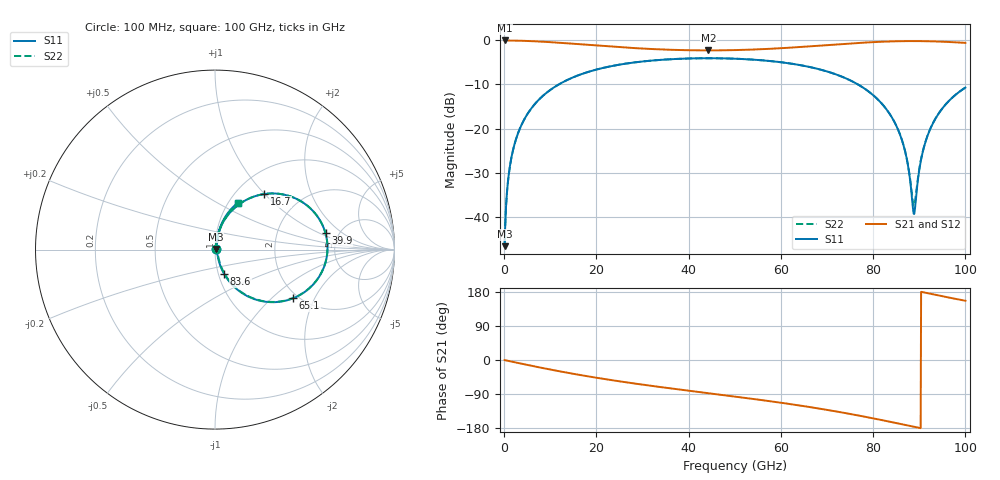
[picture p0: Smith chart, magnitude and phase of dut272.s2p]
! Touchstone file exported from HFSS 2026.1.0
!  File:  C:/ffzhzh/LocalFiles/Ansys_Project_Files/temp_train_RDL_272_1783501863_9504.aedt
!  Generated:  05:12:51 PM Jul  8, 2026
!  Design:  RDL
!  Project:  temp_train_RDL_272_1783501863_9504
! Variables:
!  h_bsmrdl = 2um
!  h_ox = 20um
!  h_rdl = 5um
!  h_sub = 80um
!  h_tmrdl = 3.23um
!  h_tsv = 80um
!  h_via = 3um
!  l_bsmrdl = 300um
!  l_sub = 1050.25um
!  l_tmrdl = 650.25um
!  m_sub = 200um
!  pitch = 58.69um
!  r_tsv = 6um
!  s_tmrdl = 10um
!  w_bsmrdl = 18um
!  w_sub = 500um
!  w_tmrdl = 22.25um
!  x_tsv_center1 = 661.375um
!  x_tsv_center2 = 979.375um
!  x_tsv_center3 = 1651.875um
!  x_tsv_center4 = 1969.875um
!  x_tsv_center5 = 2642.375um
!  x_tsv_center6 = 2960.375um
# GHz S MA R 50.000000
! Terminal data exported
! Port[1] = TM_RDL1_1_T1
! Port[2] = TM_RDL1_1_T2
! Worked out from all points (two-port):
!   1000 points, 100 MHz to 100 GHz, reference 50 ohm
!   highest |S21| = -0.03 dB at 100 MHz (marker M1); lowest = -2.3 dB at 44.3 GHz (marker M2)
!   |S21| within 3 dB of the highest: start of sweep to end of sweep
!   lowest |S11| = -46.6 dB at 100 MHz (marker M3), VSWR 1.01, Z = 50.3 + j0.319 ohm
!   |S11| at or under -10 dB: start of sweep to 11.84 GHz; 76.71 GHz to end of sweep
!   |S22| runs from -46.6 to -4.1 dB; largest |S21 - S12| = 1.9e-14
!   S11 on the Smith chart (normalised r, x): 100 MHz: 1.01, +0.01; 16.7 GHz: 1.33, +0.99; 39.9 GHz: 3.93, +1.17; 65.1 GHz: 1.88, -1.38; 83.6 GHz: 1.07, -0.30; 100 GHz: 1.10, +0.63
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0.1  0.004659 42.9  0.9966 -0.3  0.9966 -0.3  0.004659 42.9
! Gamma 0 0 0 0
! Port Impedance 50 0 50 0
0.8  0.02441 78.2  0.9956 -2.1  0.9956 -2.1  0.02441 78.2
1.4  0.04187 80.4  0.9948 -3.7  0.9948 -3.7  0.04187 80.4
4  0.1169 77.0  0.9878 -10.4  0.9878 -10.4  0.1169 77.0
8.9  0.2474 65.6  0.961 -22.5  0.961 -22.5  0.2474 65.7
16.7  0.413 48.5  0.9005 -40.1  0.9005 -40.1  0.413 48.5
16.8  0.4148 48.3  0.8997 -40.3  0.8997 -40.3  0.4148 48.3
33.4  0.598 18.5  0.7911 -70.6  0.7911 -70.6  0.598 18.6
39.9  0.6224 8.4  0.7726 -80.9  0.7726 -80.9  0.6224 8.5
44.3  0.627 1.8  0.7689 -87.6  0.7689 -87.6  0.6271 1.8
50.1  0.6191 -7.1  0.7752 -96.6  0.7752 -96.6  0.6191 -6.9
65.1  0.513 -31.9  0.8464 -122.0  0.8464 -122.0  0.513 -31.7
66.7  0.4927 -34.9  0.8578 -125.0  0.8578 -125.0  0.4927 -34.7
76.8  0.3142 -55.3  0.9339 -146.4  0.9339 -146.4  0.3143 -54.9
83.4  0.1516 -69.0  0.9707 -162.3  0.9707 -162.3  0.1518 -68.0
83.6  0.1463 -69.3  0.9714 -162.8  0.9714 -162.8  0.1464 -68.4
86.7  0.06153 -71.3  0.9793 -170.7  0.9793 -170.7  0.06197 -68.9
88.9  0.01079 9.9  0.9806 -176.3  0.9806 -176.3  0.01339 8.9
90.6  0.05019 76.5  0.9789 179.4  0.9789 179.4  0.05089 73.7
92.4  0.09956 78.1  0.9749 174.8  0.9749 174.8  0.09996 76.7
95.6  0.1848 73.1  0.9621 166.8  0.9621 166.8  0.1851 72.3
100  0.2916 63.9  0.9355 156.3  0.9355 156.3  0.2918 63.4
